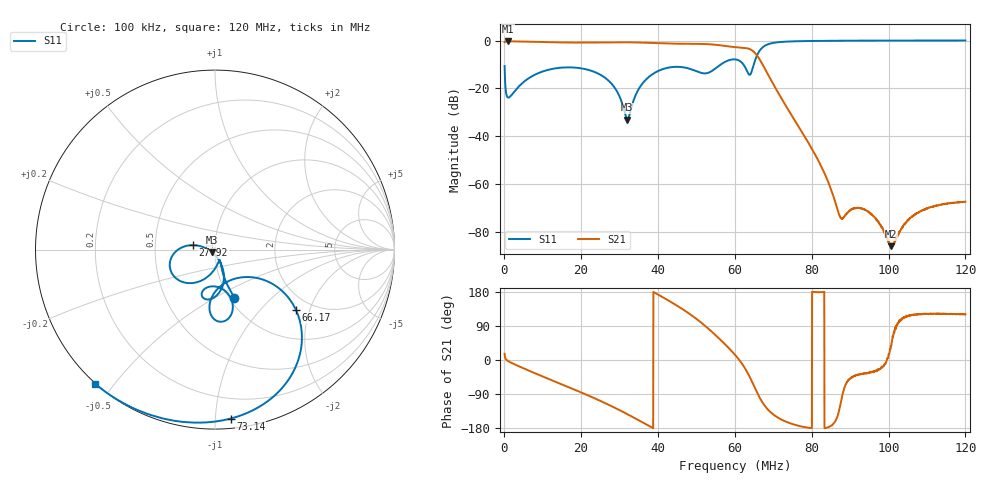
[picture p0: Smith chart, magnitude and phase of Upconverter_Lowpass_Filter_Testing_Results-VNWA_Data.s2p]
! ListType=Lin
# MHZ S DB R 50
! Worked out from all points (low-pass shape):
!   2048 points, 100 kHz to 120 MHz, reference 50 ohm
!   highest |S21| = -0.34 dB at 861.5 kHz (marker M1); lowest = -86.1 dB at 100.6 MHz (marker M2)
!   |S21| within 3 dB of the highest: start of sweep to 63.4 MHz
!   lowest |S11| = -33.2 dB at 32.02 MHz (marker M3), VSWR 1.04, Z = 48.5 - j1.54 ohm
!   |S11| at or under -10 dB: start of sweep to 56.39 MHz; 62.22 MHz to 64.94 MHz (2.716 MHz wide, 4.27 % of centre)
!   S12 and S22 are empty: the file has one direction only
!   S11 on the Smith chart (normalised r, x): 100 kHz: 1.05, -0.62; 27.92 MHz: 0.78, +0.04; 66.17 MHz: 1.65, -1.62; 73.14 MHz: 0.06, -1.09; 120 MHz: -0.00, -0.45
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0.1  -10.69 -68.2  -0.69 16.4  -3000.00 -90.0  -3000.00 -90.0
0.8614558  -23.75 -65.1  -0.34 -1.9  -3000.00 -90.0  -3000.00 -90.0
9.706058  -13.14 -122.6  -0.62 -42.2  -3000.00 -90.0  -3000.00 -90.0
20.13214  -11.68 -164.4  -0.86 -86.1  -3000.00 -90.0  -3000.00 -90.0
27.92242  -18.09 168.4  -0.75 -121.9  -3000.00 -90.0  -3000.00 -90.0
32.02257  -33.21 -133.3  -0.75 -142.9  -3000.00 -90.0  -3000.00 -90.0
35.41983  -19.24 -67.5  -0.85 -161.3  -3000.00 -90.0  -3000.00 -90.0
40.10572  -12.73 -82.5  -1.11 172.3  -3000.00 -90.0  -3000.00 -90.0
46.19736  -11.13 -103.5  -1.36 135.5  -3000.00 -90.0  -3000.00 -90.0
51.87899  -13.75 -94.7  -1.46 93.5  -3000.00 -90.0  -3000.00 -90.0
60.07929  -7.91 -86.3  -2.78 13.4  -3000.00 -90.0  -3000.00 -90.0
63.88657  -14.38 -64.4  -3.60 -44.9  -3000.00 -90.0  -3000.00 -90.0
66.17093  -5.01 -36.7  -7.19 -93.9  -3000.00 -90.0  -3000.00 -90.0
69.15818  -1.30 -64.8  -15.77 -136.3  -3000.00 -90.0  -3000.00 -90.0
73.14118  -0.49 -84.7  -26.96 -162.0  -3000.00 -90.0  -3000.00 -90.0
80.05286  -0.19 -101.7  -45.34 -180.0  -3000.00 -90.0  -3000.00 -90.0
87.60884  -0.09 -112.1  -74.46 -111.0  -3000.00 -90.0  -3000.00 -90.0
93.11475  -0.05 -117.4  -70.43 -36.2  -3000.00 -90.0  -3000.00 -90.0
100.0264  -0.03 -122.4  -84.22 15.3  -3000.00 -90.0  -3000.00 -90.0
100.6122  -0.02 -122.8  -86.13 37.2  -3000.00 -90.0  -3000.00 -90.0
109.4568  0.00 -127.5  -70.67 121.1  -3000.00 -90.0  -3000.00 -90.0
120  0.01 -131.8  -67.47 120.3  -3000.00 -90.0  -3000.00 -90.0
